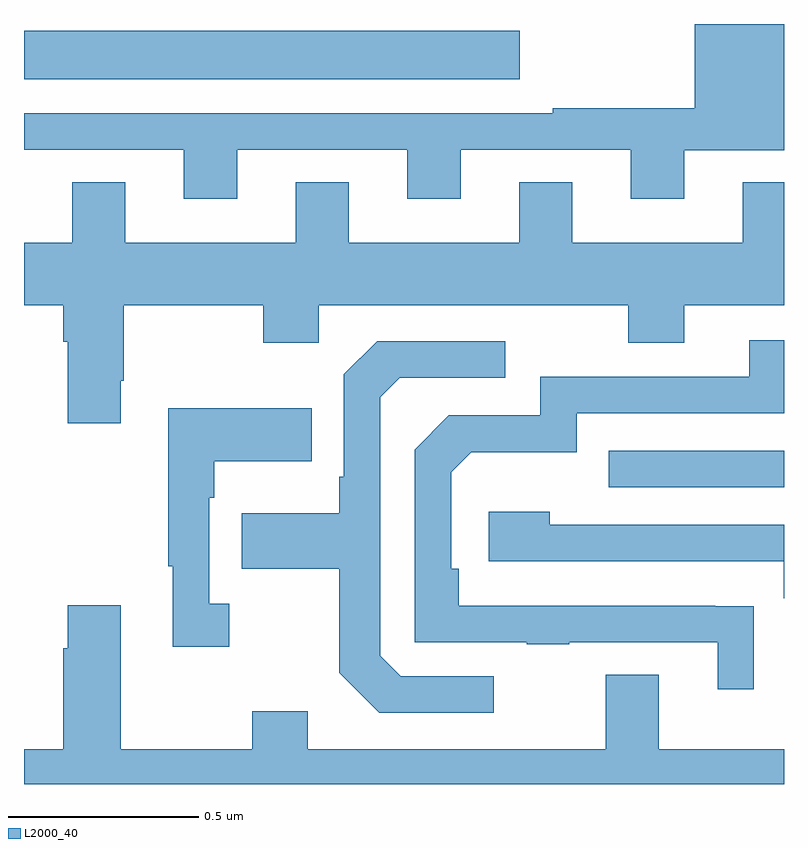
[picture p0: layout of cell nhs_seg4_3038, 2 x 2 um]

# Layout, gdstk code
import gdstk
lib = gdstk.Library(unit=1e-6, precision=1e-09)
def R(c, l, rs):  # rectangles x0, y0, x1, y1
    for r in rs: c.add(gdstk.rectangle(r[:2], r[2:], *l))
def P(c, l, *ps):  # polygons
    for p in ps: c.add(gdstk.Polygon(p, *l))
L2000_40 = (2000, 40)

nhs_seg4_3038 = lib.new_cell('nhs_seg4_3038')
R(nhs_seg4_3038, L2000_40, [(149.539,789.681,150,789.777), (148,790.754,149.305,790.882)])
P(nhs_seg4_3038, L2000_40, [(148.561,790.569),(149.009,790.569),(149.009,790.44),(149.149,790.44),(149.149,790.569),(149.597,790.569),(149.597,790.44),(149.737,790.44),(149.737,790.568),(150,790.568),(150,790.9),(149.765,790.9),(149.765,790.678),(149.392,790.678),(149.392,790.665),(148,790.665),(148,790.569),(148.421,790.569),(148.421,790.44),(148.561,790.44)],
  [(148.255,789.961),(148.263,789.961),(148.263,790.16),(148.63,790.16),(148.63,790.061),(148.776,790.061),(148.776,790.16),(149.59,790.16),(149.59,790.061),(149.737,790.061),(149.737,790.16),(150,790.16),(150,790.483),(149.891,790.483),(149.891,790.324),(149.443,790.324),(149.443,790.484),(149.303,790.484),(149.303,790.324),(148.855,790.324),(148.855,790.484),(148.715,790.484),(148.715,790.324),(148.267,790.324),(148.267,790.484),(148.127,790.484),(148.127,790.324),(148,790.324),(148,790.16),(148.103,790.16),(148.103,790.064),(148.115,790.064),(148.115,789.849),(148.255,789.849)],
  [(149.921,789.368),(149.819,789.368),(149.819,789.369),(149.144,789.369),(149.144,789.466),(149.124,789.466),(149.124,789.72),(149.177,789.773),(149.454,789.773),(149.454,789.876),(150,789.876),(150,790.068),(149.909,790.068),(149.909,789.972),(149.358,789.972),(149.358,789.87),(149.118,789.87),(149.028,789.78),(149.028,789.273),(149.323,789.273),(149.323,789.268),(149.435,789.268),(149.435,789.273),(149.825,789.273),(149.825,789.15),(149.921,789.15)],
  [(149.236,789.183),(148.992,789.183),(148.938,789.237),(148.938,789.918),(148.989,789.969),(149.266,789.969),(149.266,790.065),(148.929,790.065),(148.842,789.978),(148.842,789.709),(148.83,789.709),(148.83,789.613),(148.573,789.613),(148.573,789.466),(148.83,789.466),(148.83,789.193),(148.935,789.087),(149.236,789.087)],
  [(148.54,789.374),(148.488,789.374),(148.488,789.653),(148.501,789.653),(148.501,789.749),(148.757,789.749),(148.757,789.889),(148.38,789.889),(148.38,789.473),(148.391,789.473),(148.391,789.261),(148.54,789.261)],
  [(150,789.582),(149.384,789.582),(149.384,789.616),(149.223,789.616),(149.223,789.486),(149.999,789.486),(149.999,789.389),(150,789.389)],
  [(150,788.992),(149.671,788.992),(149.671,789.187),(149.531,789.187),(149.531,788.992),(148.747,788.992),(148.747,789.091),(148.6,789.091),(148.6,788.992),(148.255,788.992),(148.255,789.37),(148.115,789.37),(148.115,789.257),(148.103,789.257),(148.103,788.992),(148,788.992),(148,788.9),(150,788.9)])

lib.write_gds('nhs_seg4_3038.gds')
